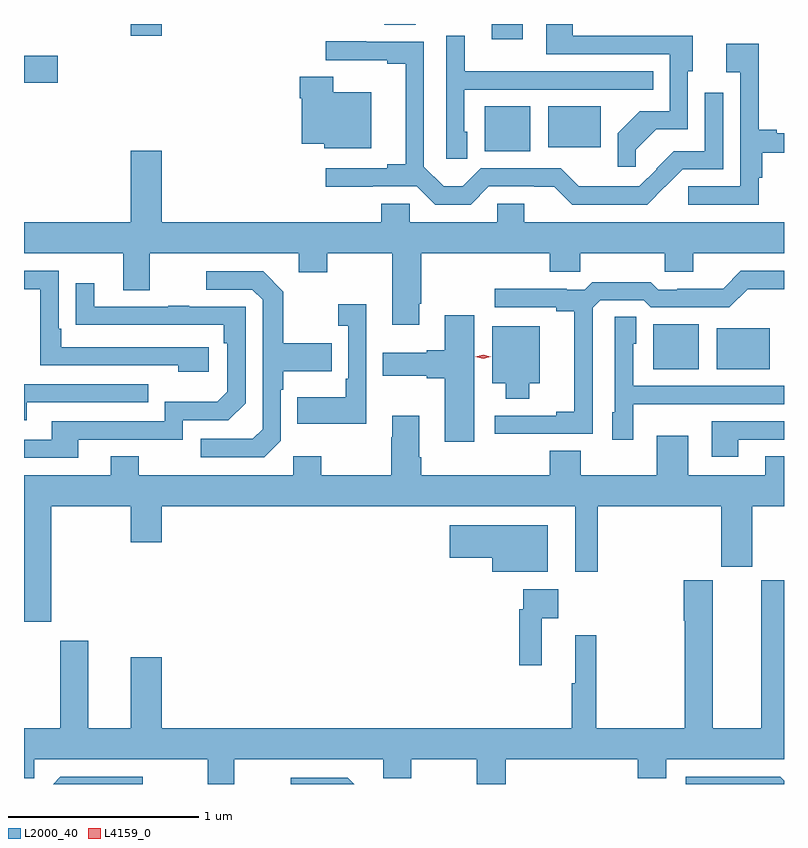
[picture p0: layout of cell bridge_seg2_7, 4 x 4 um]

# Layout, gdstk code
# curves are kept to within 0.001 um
import gdstk
lib = gdstk.Library(unit=1e-6, precision=1e-09)
def R(c, l, rs):  # rectangles x0, y0, x1, y1
    for r in rs: c.add(gdstk.rectangle(r[:2], r[2:], *l))
def P(c, l, *ps):  # polygons
    for p in ps: c.add(gdstk.Polygon(p, *l))
L2000_40 = (2000, 40)
L4159_0 = (4159, 0)

bridge_seg2_7 = lib.new_cell('bridge_seg2_7')
R(bridge_seg2_7, L2000_40, [(791.135,615.059,791.374,615.295), (791.468,615.059,791.746,615.274), (790.247,616.205,790.486,616.441), (790.58,616.226,790.858,616.441), (787.822,616.565,787.999,616.707), (790.283,616.794,790.447,616.875), (788.384,616.812,788.548,616.875), (789.719,616.872,789.883,616.875)])
P(bridge_seg2_7, L2000_40, [(791.042,616.212),(791.15,616.32),(791.316,616.32),(791.316,616.626),(791.341,616.626),(791.341,616.814),(791.123,616.814),(791.123,616.812),(790.711,616.812),(790.711,616.875),(790.571,616.875),(790.571,616.716),(791.22,616.716),(791.22,616.416),(791.063,616.416),(790.947,616.3),(790.947,616.125),(791.042,616.125)],
  [(790.156,616.308),(790.14,616.308),(790.14,616.53),(791.135,616.53),(791.135,616.626),(790.475,616.626),(790.475,616.627),(790.141,616.627),(790.141,616.813),(790.044,616.813),(790.044,616.165),(790.156,616.165)],
  [(790.269,616.02),(790.613,616.019),(790.707,615.924),(791.101,615.924),(791.289,616.11),(791.502,616.11),(791.502,616.513),(791.406,616.513),(791.406,616.206),(791.243,616.206),(791.149,616.112),(791.151,616.11),(791.061,616.02),(790.846,616.02),(790.846,616.022),(790.742,616.022),(790.647,616.116),(790.227,616.116),(790.132,616.021),(790.031,616.021),(789.927,616.125),(789.927,616.782),(789.623,616.782),(789.623,616.784),(789.411,616.784),(789.411,616.685),(789.734,616.685),(789.734,616.666),(789.83,616.666),(789.83,616.136),(789.734,616.136),(789.734,616.116),(789.411,616.116),(789.411,616.019),(789.89,616.02),(789.986,615.924),(790.173,615.924)],
  [(791.69,616.067),(791.708,616.067),(791.708,616.198),(791.822,616.198),(791.822,616.299),(791.785,616.299),(791.785,616.319),(791.689,616.319),(791.689,616.771),(791.517,616.771),(791.517,616.622),(791.592,616.622),(791.592,616.02),(791.319,616.02),(791.319,615.924),(791.69,615.924)],
  [(789.649,616.516),(789.45,616.516),(789.45,616.597),(789.272,616.597),(789.272,616.484),(789.284,616.484),(789.284,616.244),(789.402,616.244),(789.402,616.22),(789.649,616.22)],
  [(789.901,615.403),(789.914,615.403),(789.914,615.668),(790.589,615.668),(790.589,615.57),(790.749,615.57),(790.749,615.668),(791.194,615.668),(791.194,615.57),(791.344,615.57),(791.344,615.668),(791.822,615.668),(791.822,615.832),(790.456,615.832),(790.456,615.93),(790.314,615.93),(790.314,615.832),(789.852,615.832),(789.852,615.93),(789.701,615.93),(789.701,615.832),(788.548,615.832),(788.548,616.207),(788.384,616.207),(788.384,615.832),(787.822,615.832),(787.822,615.668),(788.345,615.668),(788.345,615.474),(788.485,615.474),(788.485,615.668),(789.269,615.668),(789.269,615.569),(789.417,615.569),(789.417,615.668),(789.761,615.668),(789.761,615.291),(789.901,615.291)],
  [(790.815,615.381),(790.854,615.42),(791.085,615.42),(791.121,615.384),(791.535,615.384),(791.63,615.479),(791.822,615.48),(791.822,615.576),(791.595,615.576),(791.501,615.482),(791.26,615.482),(791.26,615.477),(791.16,615.477),(791.121,615.517),(790.813,615.517),(790.773,615.477),(790.679,615.477),(790.679,615.482),(790.299,615.482),(790.299,615.384),(790.622,615.384),(790.622,615.362),(790.718,615.362),(790.718,614.834),(790.622,614.834),(790.622,614.814),(790.299,614.814),(790.299,614.718),(790.815,614.718)],
  [(788.794,615.174),(788.017,615.174),(788.017,615.271),(788.004,615.271),(788.004,615.576),(787.822,615.576),(787.822,615.48),(787.908,615.48),(787.908,615.078),(788.633,615.078),(788.633,615.044),(788.794,615.044)],
  [(789.174,614.682),(789.174,614.951),(789.187,614.951),(789.187,615.047),(789.443,615.047),(789.443,615.195),(789.187,615.195),(789.187,615.467),(789.081,615.573),(788.781,615.573),(788.781,615.477),(789.024,615.477),(789.078,615.423),(789.078,614.742),(789.027,614.691),(788.751,614.691),(788.751,614.595),(789.087,614.595)],
  [(788.107,614.688),(788.658,614.688),(788.658,614.79),(788.898,614.79),(788.988,614.88),(788.988,615.387),(788.693,615.387),(788.693,615.392),(788.581,615.392),(788.581,615.387),(788.191,615.387),(788.191,615.511),(788.095,615.511),(788.095,615.292),(788.872,615.291),(788.872,615.194),(788.892,615.194),(788.892,614.94),(788.839,614.887),(788.562,614.887),(788.562,614.784),(787.967,614.784),(787.967,614.688),(787.822,614.688),(787.822,614.592),(788.107,614.592)],
  [(789.624,615.4),(789.477,615.4),(789.477,615.287),(789.528,615.287),(789.528,615.007),(789.516,615.007),(789.516,614.911),(789.259,614.911),(789.259,614.771),(789.624,614.771)],
  [(790.192,615.343),(790.037,615.343),(790.037,615.158),(789.941,615.158),(789.941,615.145),(789.711,615.145),(789.711,615.023),(789.941,615.023),(789.941,615.011),(790.037,615.011),(790.037,614.676),(790.192,614.676)],
  [(791.028,614.873),(791.345,614.873),(791.345,614.874),(791.822,614.874),(791.822,614.97),(791.028,614.97),(791.028,615.192),(791.044,615.192),(791.044,615.335),(790.932,615.335),(790.932,614.832),(790.919,614.832),(790.919,614.688),(791.028,614.688)],
  [(790.48,614.984),(790.537,614.984),(790.537,615.283),(790.286,615.283),(790.286,614.984),(790.358,614.984),(790.358,614.903),(790.48,614.903)],
  [(787.837,614.883),(788.477,614.883),(788.477,614.979),(787.822,614.979),(787.822,614.789),(787.837,614.789)],
  [(787.966,614.336),(788.384,614.336),(788.384,614.148),(788.548,614.148),(788.548,614.336),(790.724,614.336),(790.724,613.992),(790.841,613.992),(790.841,614.336),(791.492,614.336),(791.492,614.019),(791.656,614.019),(791.656,614.336),(791.822,614.336),(791.822,614.599),(791.723,614.599),(791.723,614.5),(791.317,614.5),(791.317,614.707),(791.153,614.707),(791.153,614.5),(790.753,614.5),(790.753,614.629),(790.589,614.629),(790.589,614.5),(789.914,614.5),(789.914,614.596),(789.901,614.596),(789.901,614.812),(789.761,614.812),(789.761,614.699),(789.754,614.699),(789.754,614.5),(789.387,614.5),(789.387,614.599),(789.24,614.599),(789.24,614.5),(788.427,614.5),(788.427,614.599),(788.279,614.599),(788.279,614.5),(787.822,614.5),(787.822,613.73),(787.966,613.73)],
  [(791.581,614.688),(791.822,614.688),(791.822,614.784),(791.441,614.784),(791.441,614.598),(791.581,614.598)],
  [(790.579,614.236),(790.062,614.236),(790.062,614.066),(790.286,614.066),(790.286,613.991),(790.579,613.991)],
  [(788.929,613.004),(789.713,613.004),(789.713,612.905),(789.861,612.905),(789.861,613.004),(790.205,613.004),(790.205,612.875),(790.358,612.875),(790.358,613.004),(791.051,613.004),(791.051,612.905),(791.203,612.905),(791.203,613.004),(791.822,613.004),(791.822,613.947),(791.702,613.947),(791.702,613.168),(791.446,613.168),(791.446,613.947),(791.294,613.947),(791.294,613.735),(791.299,613.735),(791.299,613.168),(790.834,613.168),(790.834,613.657),(790.724,613.657),(790.724,613.404),(790.705,613.404),(790.705,613.168),(788.548,613.168),(788.548,613.543),(788.384,613.543),(788.384,613.168),(788.161,613.168),(788.161,613.63),(788.014,613.63),(788.014,613.168),(787.822,613.168),(787.822,612.906),(787.875,612.906),(787.875,613.004),(788.789,613.004),(788.789,612.875),(788.929,612.875)],
  [(790.547,613.748),(790.633,613.748),(790.633,613.9),(790.449,613.9),(790.449,613.796),(790.429,613.796),(790.429,613.5),(790.547,613.5)],
  [(791.822,612.892),(791.801,612.913),(791.304,612.913),(791.304,612.875),(791.822,612.875)],
  [(788.448,612.912),(788.013,612.912),(787.976,612.875),(788.448,612.875)],
  [(789.525,612.909),(789.225,612.909),(789.225,612.875),(789.559,612.875)])
P(bridge_seg2_7, L4159_0, [(790.238,615.114),(790.198,615.124),(790.198,615.124),(790.198,615.124),(790.239,615.134),(790.279,615.123),(790.279,615.123),(790.279,615.123)])

lib.write_gds('bridge_seg2_7.gds')
